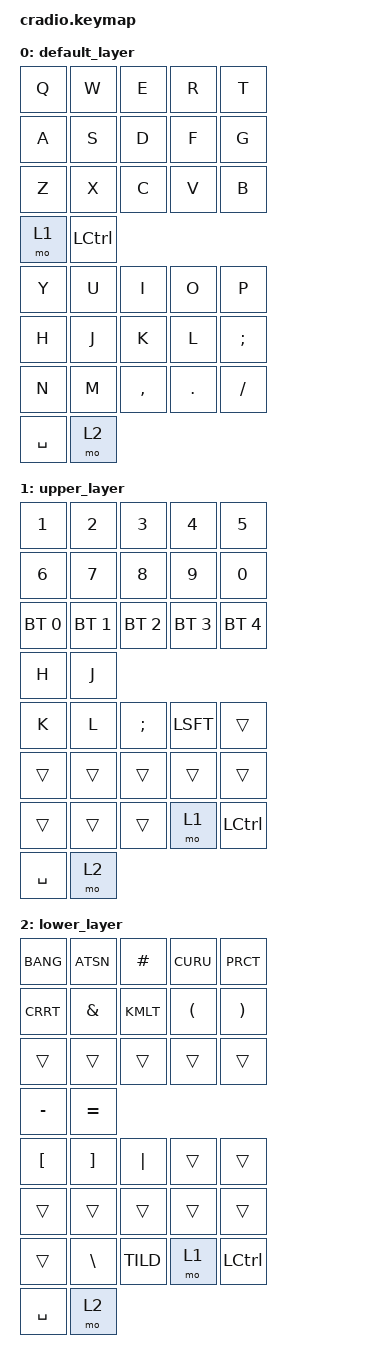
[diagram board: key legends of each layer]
/*
 * Copyright (c) 2020 The ZMK Contributors
 *
 * SPDX-License-Identifier: MIT
 */
 
#include <behaviors.dtsi>
#include <dt-bindings/zmk/keys.h>
#include <dt-bindings/zmk/bt.h>


/ {
        keymap {
                compatible = "zmk,keymap";
                
       default_layer {
		bindings = <
		&kp Q &kp W &kp E &kp R &kp T
		&kp A &kp S &kp D &kp F &kp G
		&kp Z &kp X &kp C &kp V &kp B
		&mo 1 &kp LCTL
		&kp Y &kp U  &kp I    &kp O   &kp P
		&kp H &kp J  &kp K    &kp L   &kp SCLN
		&kp N &kp M  &kp CMMA &kp DOT &kp FSLH
	    &kp SPC  &mo 2
		>;
		};
       upper_layer {
		bindings = <
		&kp NUM_1    &kp NUM_2    &kp NUM_3    &kp NUM_4    &kp NUM_5         &kp NUM_6 &kp NUM_7 &kp NUM_8 &kp NUM_9 &kp NUM_0 
		&bt BT_SEL 0 &bt BT_SEL 1 &bt BT_SEL 2 &bt BT_SEL 3 &bt BT_SEL 4	&kp H &kp J  &kp K    &kp L   &kp SCLN 
		&kp LSFT   &trans       &trans       &trans       &trans       &trans            &trans    &trans    &trans    &trans  
			 &mo 1 &kp LCTL  		&kp SPC  &mo 2 
		>;
		};
		
	lower_layer {
		bindings = <
		&kp BANG  &kp ATSN  &kp HASH  &kp CURU  &kp PRCT    &kp CRRT  &kp AMPS &kp KMLT &kp LPRN &kp RPRN 
		&trans    &trans    &trans    &trans    &trans      &kp MINUS &kp EQL  &kp LBKT &kp RBKT &kp PIPE 
		&trans    &trans    &trans    &trans      &trans    &trans   &trans   &trans   &kp BSLH &kp TILD
			 &mo 1 &kp LCTL  		&kp SPC  &mo 2 
		>;
		};	
        
	};
};
